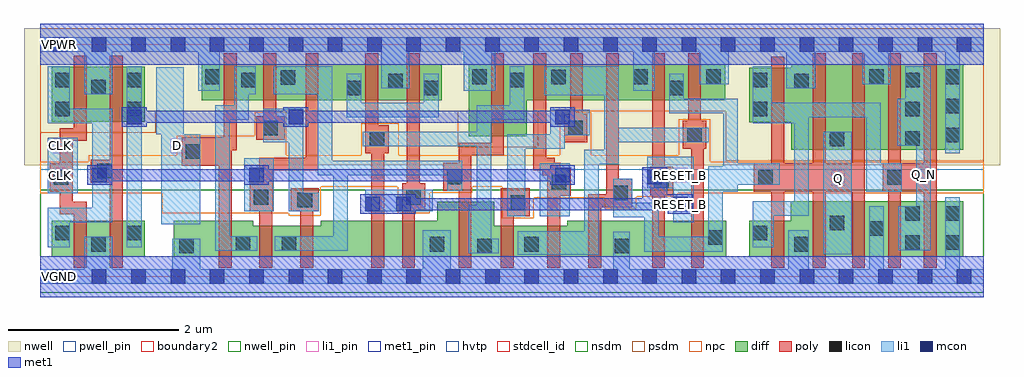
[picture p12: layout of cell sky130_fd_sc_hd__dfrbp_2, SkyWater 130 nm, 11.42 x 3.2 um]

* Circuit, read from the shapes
.subckt sky130_fd_sc_hd__dfrbp_2 CLK D Q Q_N RESET_B VGND VNB VPB VPWR
XM1 VGND CLK n1 VNB sky130_fd_pr__nfet_01v8 w=0.42 l=0.15
XM2 n2 n1 VGND VNB sky130_fd_pr__nfet_01v8 w=0.42 l=0.15
XM3 n3 D VGND VNB sky130_fd_pr__nfet_01v8 w=0.42 l=0.15
XM4 n4 n1 n3 VNB sky130_fd_pr__nfet_01v8 w=0.36 l=0.15
XM5 n5 n2 n4 VNB sky130_fd_pr__nfet_01v8 w=0.36 l=0.15
XM6 n6 n7 n5 VNB sky130_fd_pr__nfet_01v8 w=0.42 l=0.15
XM7 VGND RESET_B n6 VNB sky130_fd_pr__nfet_01v8 w=0.42 l=0.15
XM8 n7 n4 VGND VNB sky130_fd_pr__nfet_01v8 w=0.64 l=0.15
XM9 n8 n2 n7 VNB sky130_fd_pr__nfet_01v8 w=0.36 l=0.15
XM10 n9 n1 n8 VNB sky130_fd_pr__nfet_01v8 w=0.36 l=0.15
XM11 VGND n10 n9 VNB sky130_fd_pr__nfet_01v8 w=0.42 l=0.15
XM12 n11 RESET_B VGND VNB sky130_fd_pr__nfet_01v8 w=0.42 l=0.15
XM13 n10 n8 n11 VNB sky130_fd_pr__nfet_01v8 w=0.42 l=0.15
XM14 VGND n10 n12 VNB sky130_fd_pr__nfet_01v8 w=0.42 l=0.15
XM15 Q n10 VGND VNB sky130_fd_pr__nfet_01v8 w=0.65 l=0.15 m=2
XM16 Q_N n12 VGND VNB sky130_fd_pr__nfet_01v8 w=0.65 l=0.15 m=2
XM17 VPWR CLK n1 VPB sky130_fd_pr__pfet_01v8_hvt w=0.64 l=0.15
XM18 n2 n1 VPWR VPB sky130_fd_pr__pfet_01v8_hvt w=0.64 l=0.15
XM19 n3 D VPWR VPB sky130_fd_pr__pfet_01v8_hvt w=0.42 l=0.15
XM20 n4 n2 n3 VPB sky130_fd_pr__pfet_01v8_hvt w=0.42 l=0.15
XM21 n13 n1 n4 VPB sky130_fd_pr__pfet_01v8_hvt w=0.42 l=0.15
XM22 VPWR n7 n13 VPB sky130_fd_pr__pfet_01v8_hvt w=0.42 l=0.15
XM23 n13 RESET_B VPWR VPB sky130_fd_pr__pfet_01v8_hvt w=0.42 l=0.15
XM24 n7 n4 VPWR VPB sky130_fd_pr__pfet_01v8_hvt w=0.84 l=0.15
XM25 n8 n1 n7 VPB sky130_fd_pr__pfet_01v8_hvt w=0.42 l=0.15
XM26 n14 n2 n8 VPB sky130_fd_pr__pfet_01v8_hvt w=0.42 l=0.15
XM27 VPWR n10 n14 VPB sky130_fd_pr__pfet_01v8_hvt w=0.42 l=0.15
XM28 n10 RESET_B VPWR VPB sky130_fd_pr__pfet_01v8_hvt w=0.42 l=0.15
XM29 VPWR n8 n10 VPB sky130_fd_pr__pfet_01v8_hvt w=0.42 l=0.15
XM30 VPWR n10 n12 VPB sky130_fd_pr__pfet_01v8_hvt w=0.64 l=0.15
XM31 Q n10 VPWR VPB sky130_fd_pr__pfet_01v8_hvt w=1 l=0.15 m=2
XM32 Q_N n12 VPWR VPB sky130_fd_pr__pfet_01v8_hvt w=1 l=0.15 m=2
.ends

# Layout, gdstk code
import gdstk
lib = gdstk.Library(unit=1e-6, precision=1e-09)
def R(c, l, rs):  # rectangles x0, y0, x1, y1
    for r in rs: c.add(gdstk.rectangle(r[:2], r[2:], *l))
def A(c, l, x, y, w, h, nx, ny, dx, dy):  # array of equal rectangles
    R(c, l, [(x+i*dx, y+j*dy, x+i*dx+w, y+j*dy+h) for i in range(nx) for j in range(ny)])
def P(c, l, *ps):  # polygons
    for p in ps: c.add(gdstk.Polygon(p, *l))
nwell_pin = (64, 16)
nwell = (64, 20)
diff = (65, 20)
poly = (66, 20)
licon = (66, 44)
li1_pin = (67, 16)
li1 = (67, 20)
mcon = (67, 44)
met1_pin = (68, 16)
met1 = (68, 20)
hvtp = (78, 44)
stdcell_id = (81, 4)
nsdm = (93, 44)
psdm = (94, 20)
npc = (95, 20)
pwell_pin = (122, 16)
boundary2 = (236, 0)

sky130_fd_sc_hd__dfrbp_2 = lib.new_cell('sky130_fd_sc_hd__dfrbp_2')
R(sky130_fd_sc_hd__dfrbp_2, nwell_pin, [(0.145,2.635,0.315,2.805)])
R(sky130_fd_sc_hd__dfrbp_2, nwell, [(-0.19,1.305,11.23,2.91)])
R(sky130_fd_sc_hd__dfrbp_2, diff, [(0.135,0.235,1.225,0.655), (0.135,1.815,1.225,2.455), (3.305,2.065,4.7,2.485)])
P(sky130_fd_sc_hd__dfrbp_2, diff, [(8.015,2.485),(5.015,2.485),(5.015,1.645),(5.695,1.645),(5.695,2.065),(8.015,2.065)],
  [(10.8,0.885),(8.78,0.885),(8.78,0.655),(8.295,0.655),(8.295,0.235),(10.8,0.235)],
  [(8.025,0.655),(6.165,0.655),(6.165,0.595),(5.315,0.595),(5.315,0.875),(4.645,0.875),(4.645,0.655),(3.285,0.655),(3.285,0.595),(2.49,0.595),(2.49,0.655),(1.565,0.655),(1.565,0.235),(8.025,0.235)],
  [(3.335,2.485),(1.89,2.485),(1.89,2.065),(3.33,2.065),(3.33,2.48),(3.335,2.48)],
  [(10.8,2.485),(8.79,2.485),(8.79,2.445),(8.295,2.445),(8.295,1.805),(8.79,1.805),(8.79,1.485),(10.8,1.485)])
R(sky130_fd_sc_hd__dfrbp_2, poly, [(3.875,0.105,4.025,1.515), (4.29,1.055,4.44,2.615), (3.805,1.445,4.08,1.775), (3.805,1.76,3.955,2.615)])
P(sky130_fd_sc_hd__dfrbp_2, poly, [(7.79,1.825),(7.73,1.825),(7.73,2.615),(7.58,2.615),(7.58,1.825),(7.52,1.825),(7.52,1.495),(7.615,1.495),(7.615,0.105),(7.765,0.105),(7.765,1.495),(7.79,1.495)],
  [(10.49,2.615),(10.34,2.615),(10.34,1.325),(10.07,1.325),(10.07,2.615),(9.92,2.615),(9.92,1.325),(9.86,1.325),(9.86,0.995),(9.92,0.995),(9.92,0.105),(10.07,0.105),(10.07,0.995),(10.34,0.995),(10.34,0.105),(10.49,0.105)],
  [(0.545,0.88),(0.38,0.88),(0.38,1.59),(0.545,1.59),(0.545,2.585),(0.395,2.585),(0.395,1.74),(0.23,1.74),(0.23,1.325),(0.11,1.325),(0.11,0.995),(0.23,0.995),(0.23,0.73),(0.395,0.73),(0.395,0.105),(0.545,0.105)],
  [(0.965,2.585),(0.815,2.585),(0.815,1.37),(0.59,1.37),(0.59,1.1),(0.815,1.1),(0.815,0.105),(0.965,0.105)],
  [(2.3,2.615),(2.15,2.615),(2.15,1.63),(1.655,1.63),(1.655,1.3),(2.09,1.3),(2.09,0.105),(2.24,0.105),(2.24,1.48),(2.3,1.48)],
  [(3.255,2.615),(3.105,2.615),(3.105,1.395),(2.565,1.395),(2.565,1.095),(2.45,1.095),(2.45,0.765),(2.565,0.765),(2.565,0.105),(2.715,0.105),(2.715,0.765),(2.72,0.765),(2.72,1.245),(3.255,1.245)],
  [(2.86,1.875),(2.76,1.875),(2.76,2.615),(2.61,2.615),(2.61,1.875),(2.53,1.875),(2.53,1.605),(2.86,1.605)],
  [(3.26,1.035),(2.93,1.035),(2.93,0.765),(3.045,0.765),(3.045,0.105),(3.195,0.105),(3.195,0.765),(3.26,0.765)],
  [(4.505,1.095),(4.235,1.095),(4.235,0.105),(4.385,0.105),(4.385,0.765),(4.505,0.765)],
  [(5.425,2.615),(5.275,2.615),(5.275,1.57),(4.895,1.57),(4.895,1.335),(4.715,1.335),(4.715,1.005),(4.895,1.005),(4.895,0.105),(5.045,0.105),(5.045,1.42),(5.425,1.42)],
  [(5.725,1.035),(5.39,1.035),(5.39,0.105),(5.54,0.105),(5.54,0.705),(5.725,0.705)],
  [(6.205,1.275),(6.085,1.275),(6.085,1.335),(6.02,1.335),(6.02,1.395),(5.92,1.395),(5.92,2.615),(5.77,2.615),(5.77,1.245),(5.875,1.245),(5.875,1.185),(5.935,1.185),(5.935,0.105),(6.085,0.105),(6.085,0.945),(6.205,0.945)],
  [(6.4,1.905),(6.35,1.905),(6.35,2.615),(6.2,2.615),(6.2,1.905),(6.13,1.905),(6.13,1.575),(6.4,1.575)],
  [(6.925,1.145),(6.77,1.145),(6.77,2.615),(6.62,2.615),(6.62,0.965),(6.415,0.965),(6.415,0.105),(6.565,0.105),(6.565,0.815),(6.925,0.815)],
  [(7.405,1.285),(7.31,1.285),(7.31,2.615),(7.16,2.615),(7.16,1.285),(7.135,1.285),(7.135,0.955),(7.16,0.955),(7.16,0.105),(7.31,0.105),(7.31,0.955),(7.405,0.955)],
  [(9.65,2.615),(9.5,2.615),(9.5,1.325),(9.19,1.325),(9.19,2.615),(9.04,2.615),(9.04,1.325),(8.705,1.325),(8.705,2.575),(8.555,2.575),(8.555,1.325),(8.35,1.325),(8.35,0.995),(8.555,0.995),(8.555,0.105),(8.705,0.105),(8.705,0.995),(9.04,0.995),(9.04,0.105),(9.19,0.105),(9.19,0.995),(9.5,0.995),(9.5,0.105),(9.65,0.105)])
A(sky130_fd_sc_hd__dfrbp_2, licon, 10.12, 1.535, 0.17, 0.17, 1, 3, 0, 0.34)
A(sky130_fd_sc_hd__dfrbp_2, licon, 10.59, 1.575, 0.17, 0.17, 1, 3, 0, 0.34)
R(sky130_fd_sc_hd__dfrbp_2, licon, [(1.625,0.275,1.795,0.445), (5.115,0.275,5.285,0.445), (6.725,0.275,6.895,0.445), (0.595,0.295,0.765,0.465), (4.555,0.295,4.725,0.465), (5.665,0.295,5.835,0.465), (8.82,0.295,8.99,0.465), (2.29,0.305,2.46,0.475), (2.825,0.305,2.995,0.475), (10.12,0.315,10.29,0.485), (10.59,0.315,10.76,0.485), (7.815,0.375,7.985,0.545), (0.175,0.425,0.345,0.595), (1.015,0.425,1.185,0.595), (8.335,0.425,8.505,0.595), (9.7,0.48,9.87,0.65), (9.24,0.545,9.41,0.715), (10.12,0.655,10.29,0.825), (10.59,0.655,10.76,0.825), (5.505,0.785,5.675,0.955), (3.01,0.815,3.18,0.985), (2.5,0.845,2.67,1.015), (4.285,0.845,4.455,1.015), (6.705,0.895,6.875,1.065), (5.985,1.025,6.155,1.195), (7.185,1.035,7.355,1.205), (0.16,1.075,0.33,1.245), (8.4,1.075,8.57,1.245), (9.91,1.075,10.08,1.245), (4.765,1.085,4.935,1.255), (0.67,1.15,0.84,1.32), (1.705,1.38,1.875,1.55), (3.855,1.525,4.025,1.695), (9.24,1.525,9.41,1.695), (7.57,1.575,7.74,1.745), (2.61,1.655,2.78,1.825), (6.18,1.655,6.35,1.825), (0.175,1.875,0.345,2.045), (1.015,1.875,1.185,2.045), (8.335,1.875,8.505,2.045), (3.585,2.125,3.755,2.295), (4.49,2.125,4.66,2.295), (7.36,2.125,7.53,2.295), (0.595,2.135,0.765,2.305), (4.07,2.205,4.24,2.375), (8.82,2.205,8.99,2.375), (0.175,2.215,0.345,2.385), (1.015,2.215,1.185,2.385), (2.35,2.215,2.52,2.385), (5.495,2.215,5.665,2.385), (8.335,2.215,8.505,2.385), (2.815,2.245,2.985,2.415), (5.98,2.25,6.15,2.42), (1.93,2.255,2.1,2.425), (5.055,2.255,5.225,2.425), (6.94,2.255,7.11,2.425), (7.79,2.255,7.96,2.425), (9.7,2.255,9.87,2.425)])
R(sky130_fd_sc_hd__dfrbp_2, li1_pin, [(7.405,0.765,7.575,0.935), (9.255,1.065,9.415,1.245), (0.15,1.105,0.32,1.275), (7.405,1.105,7.575,1.275), (10.275,1.11,10.39,1.285), (0.15,1.445,0.32,1.615), (1.525,1.445,1.695,1.615)])
R(sky130_fd_sc_hd__dfrbp_2, li1, [(0,-0.085,9.2,0.085), (1.545,-0.03,1.875,0.445), (8.755,0.02,8.99,0.545), (10.59,0.025,10.76,0.93), (9.7,0.035,9.87,0.825), (4.475,0.055,4.805,0.545), (0.515,0.06,0.845,0.465), (6.705,0.065,6.895,0.525), (9.16,0.265,9.495,1.695), (1.015,0.345,1.185,2.465), (1.415,0.615,1.875,1.665), (5.845,0.705,6.195,1.325), (2.385,0.765,2.735,1.385), (3.805,0.765,4.595,1.015), (0.09,0.975,0.44,1.625), (8.145,1.075,8.65,1.325), (10.59,1.445,10.76,2.715), (3.775,1.525,5.13,1.695), (1.355,1.665,1.68,2.45), (0.515,2.135,0.845,2.665), (4.955,2.175,5.325,2.675), (6.94,2.175,7.19,2.69), (3.99,2.205,4.32,2.69), (8.73,2.205,9.07,2.675), (7.71,2.255,8.055,2.7), (9.62,2.255,9.95,2.675)])
P(sky130_fd_sc_hd__dfrbp_2, li1, [(0.84,1.965),(0.345,1.965),(0.345,2.465),(0.09,2.465),(0.09,1.795),(0.61,1.795),(0.61,0.805),(0.09,0.805),(0.09,0.345),(0.345,0.345),(0.345,0.635),(0.84,0.635)],
  [(2.54,0.475),(2.215,0.475),(2.215,1.835),(2.44,1.835),(2.44,2.135),(2.52,2.135),(2.52,2.465),(2.27,2.465),(2.27,2.005),(2.045,2.005),(2.045,0.305),(2.54,0.305)],
  [(3.26,0.985),(3.075,0.985),(3.075,1.965),(2.61,1.965),(2.61,1.575),(2.905,1.575),(2.905,0.765),(3.26,0.765)],
  [(4.935,1.355),(3.415,1.355),(3.415,2.465),(2.735,2.465),(2.735,2.135),(3.245,2.135),(3.245,1.185),(3.43,1.185),(3.43,0.475),(2.745,0.475),(2.745,0.305),(3.6,0.305),(3.6,1.185),(4.765,1.185),(4.765,1.005),(4.935,1.005)],
  [(5.665,2.465),(5.495,2.465),(5.495,2.005),(5.105,2.005),(5.105,0.835),(5.015,0.835),(5.015,0.275),(5.365,0.275),(5.365,0.445),(5.275,0.445),(5.275,1.835),(5.665,1.835)],
  [(6.43,1.955),(5.97,1.955),(5.97,1.665),(5.465,1.665),(5.465,0.705),(5.675,0.705),(5.675,1.495),(6.14,1.495),(6.14,1.655),(6.43,1.655)],
  [(7.645,1.405),(7.105,1.405),(7.105,1.035),(7.405,1.035),(7.405,0.635),(7.645,0.635)],
  [(7.82,1.745),(6.77,1.745),(6.77,2.465),(5.9,2.465),(5.9,2.125),(6.6,2.125),(6.6,1.485),(6.365,1.485),(6.365,0.535),(5.585,0.535),(5.585,0.255),(6.535,0.255),(6.535,1.315),(6.77,1.315),(6.77,1.575),(7.82,1.575)],
  [(9.2,2.805),(0,2.805),(0,2.635),(1.85,2.635),(1.85,2.175),(2.1,2.175),(2.1,2.635),(9.2,2.635)],
  [(8.16,2.085),(7.53,2.085),(7.53,2.375),(7.36,2.375),(7.36,1.915),(7.99,1.915),(7.99,1.295),(7.815,1.295),(7.815,0.465),(7.235,0.465),(7.235,0.865),(6.925,0.865),(6.925,1.145),(6.705,1.145),(6.705,0.695),(7.065,0.695),(7.065,0.295),(7.985,0.295),(7.985,0.995),(8.16,0.995)],
  [(10.42,2.465),(10.12,2.465),(10.12,2.08),(10.03,2.08),(10.03,1.535),(10.25,1.535),(10.25,0.825),(10.04,0.825),(10.04,0.31),(10.42,0.31)],
  [(10.08,1.325),(9.835,1.325),(9.835,2.035),(8.56,2.035),(8.56,2.465),(8.335,2.465),(8.335,1.795),(8.82,1.795),(8.82,0.885),(8.335,0.885),(8.335,0.345),(8.585,0.345),(8.585,0.715),(8.99,0.715),(8.99,1.865),(9.665,1.865),(9.665,0.995),(10.08,0.995)],
  [(4.66,2.375),(4.49,2.375),(4.49,2.035),(3.755,2.035),(3.755,2.375),(3.585,2.375),(3.585,1.865),(4.66,1.865)])
A(sky130_fd_sc_hd__dfrbp_2, mcon, 0.145, -0.085, 0.17, 0.17, 24, 2, 0.46, 2.72)
R(sky130_fd_sc_hd__dfrbp_2, mcon, [(3.805,0.765,3.975,0.935), (4.165,0.765,4.335,0.935), (7.405,0.765,7.575,0.935), (7.105,1.08,7.275,1.25), (0.61,1.105,0.78,1.275), (2.445,1.105,2.615,1.275), (6.025,1.105,6.195,1.275), (1.015,1.785,1.185,1.955), (2.905,1.785,3.075,1.955), (6.025,1.785,6.195,1.955)])
R(sky130_fd_sc_hd__dfrbp_2, met1_pin, [(0.145,-0.085,0.315,0.085), (0.145,2.635,0.315,2.805)])
R(sky130_fd_sc_hd__dfrbp_2, met1, [(7.045,0.91,7.335,1.28), (0.55,1.075,0.84,1.305), (5.965,1.075,6.255,1.305), (0.955,1.755,1.245,1.985), (5.965,1.755,6.255,1.985)])
P(sky130_fd_sc_hd__dfrbp_2, met1, [(7.635,0.965),(7.335,0.965),(7.335,0.92),(4.395,0.92),(4.395,0.965),(3.745,0.965),(3.745,0.735),(4.395,0.735),(4.395,0.78),(7.345,0.78),(7.345,0.735),(7.635,0.735)],
  [(6.075,1.94),(3.135,1.94),(3.135,1.985),(2.845,1.985),(2.845,1.94),(1.185,1.94),(1.185,1.8),(2.845,1.8),(2.845,1.755),(3.135,1.755),(3.135,1.8),(6.075,1.8)],
  [(6.045,1.26),(2.675,1.26),(2.675,1.305),(2.385,1.305),(2.385,1.26),(0.82,1.26),(0.82,1.12),(2.385,1.12),(2.385,1.075),(2.675,1.075),(2.675,1.12),(6.045,1.12)])
A(sky130_fd_sc_hd__dfrbp_2, hvtp, 9.2, 1.25, 0.46, 1.47, 4, 1, 0.46, 0)
R(sky130_fd_sc_hd__dfrbp_2, hvtp, [(0,1.25,9.2,2.72)])
R(sky130_fd_sc_hd__dfrbp_2, stdcell_id, [(0,0,11.04,2.72)])
R(sky130_fd_sc_hd__dfrbp_2, nsdm, [(0,-0.19,11.04,1.015)])
P(sky130_fd_sc_hd__dfrbp_2, psdm, [(11.04,2.91),(0,2.91),(0,1.685),(1.35,1.685),(1.35,1.935),(4.885,1.935),(4.885,1.515),(5.825,1.515),(5.825,1.935),(8.02,1.935),(8.02,1.355),(11.04,1.355)])
R(sky130_fd_sc_hd__dfrbp_2, npc, [(3.755,1.365,4.195,1.795)])
P(sky130_fd_sc_hd__dfrbp_2, npc, [(11.04,1.345),(7.84,1.345),(7.84,1.845),(7.47,1.845),(7.47,1.42),(6.45,1.42),(6.45,1.925),(6.08,1.925),(6.08,1.42),(2.88,1.42),(2.88,1.925),(2.51,1.925),(2.51,1.65),(1.6,1.65),(1.6,1.42),(0.565,1.42),(0.565,1.345),(0,1.345),(0,0.975),(1.425,0.975),(1.425,0.745),(2.91,0.745),(2.91,0.715),(3.28,0.715),(3.28,1.05),(4.185,1.05),(4.185,0.745),(4.555,0.745),(4.555,0.985),(5.055,0.985),(5.055,1.05),(5.405,1.05),(5.405,0.685),(5.775,0.685),(5.775,0.925),(6.605,0.925),(6.605,0.795),(6.975,0.795),(6.975,0.935),(7.455,0.935),(7.455,0.975),(11.04,0.975)])
R(sky130_fd_sc_hd__dfrbp_2, pwell_pin, [(0.145,-0.085,0.315,0.085)])
R(sky130_fd_sc_hd__dfrbp_2, boundary2, [(0,0,11.04,2.72)])
sky130_fd_sc_hd__dfrbp_2.add(gdstk.FlexPath([(0,0),(9.2,0)], 0.48, ends="flush", simple_path=True, layer=68, datatype=20))  # met1
sky130_fd_sc_hd__dfrbp_2.add(gdstk.FlexPath([(0,2.72),(9.2,2.72)], 0.48, ends="flush", simple_path=True, layer=68, datatype=20))  # met1
sky130_fd_sc_hd__dfrbp_2.add(gdstk.FlexPath([(10.12,0),(10.58,0)], 0.48, ends="flush", simple_path=True, layer=68, datatype=20))  # met1
sky130_fd_sc_hd__dfrbp_2.add(gdstk.FlexPath([(10.12,2.72),(10.58,2.72)], 0.48, ends="flush", simple_path=True, layer=68, datatype=20))  # met1
sky130_fd_sc_hd__dfrbp_2.add(gdstk.FlexPath([(10.58,2.72),(11.04,2.72)], 0.48, ends="flush", simple_path=True, layer=68, datatype=20))  # met1
sky130_fd_sc_hd__dfrbp_2.add(gdstk.FlexPath([(10.58,0),(11.04,0)], 0.48, ends="flush", simple_path=True, layer=68, datatype=20))  # met1
sky130_fd_sc_hd__dfrbp_2.add(gdstk.FlexPath([(9.2,0),(9.66,0)], 0.48, ends="flush", simple_path=True, layer=68, datatype=20))  # met1
sky130_fd_sc_hd__dfrbp_2.add(gdstk.FlexPath([(9.2,2.72),(9.66,2.72)], 0.48, ends="flush", simple_path=True, layer=68, datatype=20))  # met1
sky130_fd_sc_hd__dfrbp_2.add(gdstk.FlexPath([(9.66,0),(10.12,0)], 0.48, ends="flush", simple_path=True, layer=68, datatype=20))  # met1
sky130_fd_sc_hd__dfrbp_2.add(gdstk.FlexPath([(9.66,2.72),(10.12,2.72)], 0.48, ends="flush", simple_path=True, layer=68, datatype=20))  # met1
sky130_fd_sc_hd__dfrbp_2.add(gdstk.FlexPath([(10.12,2.72),(10.58,2.72)], 0.17, ends="flush", simple_path=True, layer=67, datatype=20))  # li1
sky130_fd_sc_hd__dfrbp_2.add(gdstk.FlexPath([(10.12,0),(10.58,0)], 0.17, ends="flush", simple_path=True, layer=67, datatype=20))  # li1
sky130_fd_sc_hd__dfrbp_2.add(gdstk.FlexPath([(10.58,0),(11.04,0)], 0.17, ends="flush", simple_path=True, layer=67, datatype=20))  # li1
sky130_fd_sc_hd__dfrbp_2.add(gdstk.FlexPath([(10.58,2.72),(11.04,2.72)], 0.17, ends="flush", simple_path=True, layer=67, datatype=20))  # li1
sky130_fd_sc_hd__dfrbp_2.add(gdstk.FlexPath([(9.2,2.72),(9.66,2.72)], 0.17, ends="flush", simple_path=True, layer=67, datatype=20))  # li1
sky130_fd_sc_hd__dfrbp_2.add(gdstk.FlexPath([(9.2,0),(9.66,0)], 0.17, ends="flush", simple_path=True, layer=67, datatype=20))  # li1
sky130_fd_sc_hd__dfrbp_2.add(gdstk.FlexPath([(9.66,2.72),(10.12,2.72)], 0.17, ends="flush", simple_path=True, layer=67, datatype=20))  # li1
sky130_fd_sc_hd__dfrbp_2.add(gdstk.FlexPath([(9.66,0),(10.12,0)], 0.17, ends="flush", simple_path=True, layer=67, datatype=20))  # li1
sky130_fd_sc_hd__dfrbp_2.add(gdstk.Label('Q', (9.335,1.155), layer=67, texttype=5))
sky130_fd_sc_hd__dfrbp_2.add(gdstk.Label('Q_N', (10.335,1.2), layer=67, texttype=5))
sky130_fd_sc_hd__dfrbp_2.add(gdstk.Label('RESET_B', (7.49,0.85), layer=67, texttype=5))
sky130_fd_sc_hd__dfrbp_2.add(gdstk.Label('D', (1.61,1.53), layer=67, texttype=5))
sky130_fd_sc_hd__dfrbp_2.add(gdstk.Label('CLK', (0.235,1.53), layer=67, texttype=5))
sky130_fd_sc_hd__dfrbp_2.add(gdstk.Label('CLK', (0.235,1.19), layer=67, texttype=5))
sky130_fd_sc_hd__dfrbp_2.add(gdstk.Label('RESET_B', (7.49,1.19), layer=67, texttype=5))
sky130_fd_sc_hd__dfrbp_2.add(gdstk.Label('VGND', (0.23,0), layer=68, texttype=5))
sky130_fd_sc_hd__dfrbp_2.add(gdstk.Label('VPWR', (0.23,2.72), layer=68, texttype=5))
sky130_fd_sc_hd__dfrbp_2.add(gdstk.Label('VPB', (0.23,2.72), layer=64, texttype=5))
sky130_fd_sc_hd__dfrbp_2.add(gdstk.Label('VNB', (0.23,0), layer=64, texttype=59))
sky130_fd_sc_hd__dfrbp_2.add(gdstk.Label('dfrbp_2', (0,0), layer=83, texttype=44))

lib.write_gds('sky130_fd_sc_hd__dfrbp_2.gds')
